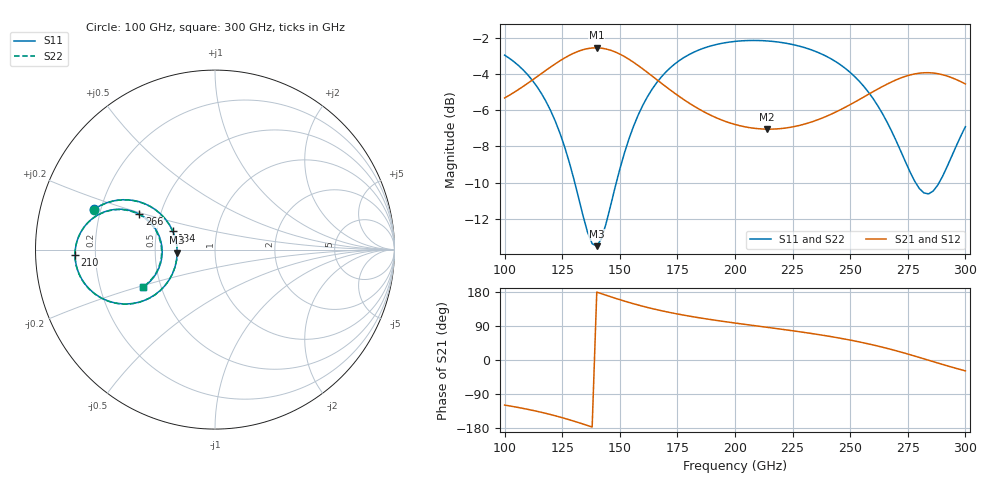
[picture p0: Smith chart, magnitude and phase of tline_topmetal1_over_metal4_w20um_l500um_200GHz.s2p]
#  GHZ S DB R 50
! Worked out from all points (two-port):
!   101 points, 100 GHz to 300 GHz, reference 50 ohm
!   highest |S21| = -2.56 dB at 140 GHz (marker M1); lowest = -7.0 dB at 214 GHz (marker M2)
!   |S21| within 3 dB of the highest: start of sweep to 179.5 GHz; 251.9 GHz to end of sweep
!   lowest |S11| = -13.5 dB at 140 GHz (marker M3), VSWR 1.54, Z = 32.6 - j1.12 ohm
!   |S11| at or under -10 dB: 130.4 GHz to 148.5 GHz (18.04 GHz wide, 12.9 % of centre); 278.4 GHz to 288.6 GHz (10.21 GHz wide, 3.6 % of centre)
!   |S22| runs from -13.5 to -2.1 dB; largest |S21 - S12| = 1.1e-13
!   S11 on the Smith chart (normalised r, x): 100 GHz: 0.17, +0.16; 134 GHz: 0.61, +0.13; 210 GHz: 0.12, -0.02; 266 GHz: 0.38, +0.19; 300 GHz: 0.40, -0.21
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100  -2.96 161.6  -5.33 -119.0  -5.33 -119.0  -2.97 161.7
112  -4.35 152.9  -4.34 -132.7  -4.34 -132.7  -4.35 153.0
120  -6.03 147.7  -3.62 -144.0  -3.62 -144.0  -6.04 147.8
126  -8.01 146.1  -3.12 -154.0  -3.12 -154.0  -8.02 146.3
134  -11.81 156.3  -2.67 -168.9  -2.67 -168.9  -11.82 156.5
140  -13.51 -175.5  -2.56 179.0  -2.56 179.0  -13.50 -175.3
146  -11.27 -150.3  -2.69 167.0  -2.69 167.0  -11.25 -150.1
154  -7.58 -143.1  -3.20 151.9  -3.20 151.9  -7.56 -143.0
160  -5.73 -145.4  -3.73 141.8  -3.73 141.8  -5.71 -145.3
168  -4.17 -151.0  -4.51 130.2  -4.51 130.2  -4.16 -150.9
184  -2.70 -162.5  -5.91 111.9  -5.91 111.9  -2.69 -162.5
200  -2.21 -172.4  -6.79 97.6  -6.79 97.6  -2.20 -172.3
210  -2.16 -177.9  -7.02 89.4  -7.02 89.4  -2.15 -177.8
214  -2.18 179.9  -7.05 86.2  -7.05 86.2  -2.17 -180.0
234  -2.71 169.0  -6.62 69.2  -6.62 69.2  -2.71 169.2
252  -4.15 159.2  -5.55 50.1  -5.55 50.1  -4.14 159.4
266  -6.66 154.9  -4.56 30.7  -4.56 30.7  -6.63 155.2
268  -7.16 155.2  -4.44 27.5  -4.44 27.5  -7.13 155.6
278  -9.92 166.6  -4.00 10.4  -4.00 10.4  -9.85 166.9
284  -10.62 -177.2  -3.93 -0.6  -3.93 -0.6  -10.53 -177.1
292  -9.14 -158.4  -4.12 -15.1  -4.12 -15.1  -9.07 -158.6
300  -6.91 -152.5  -4.56 -28.7  -4.56 -28.7  -6.87 -152.7
